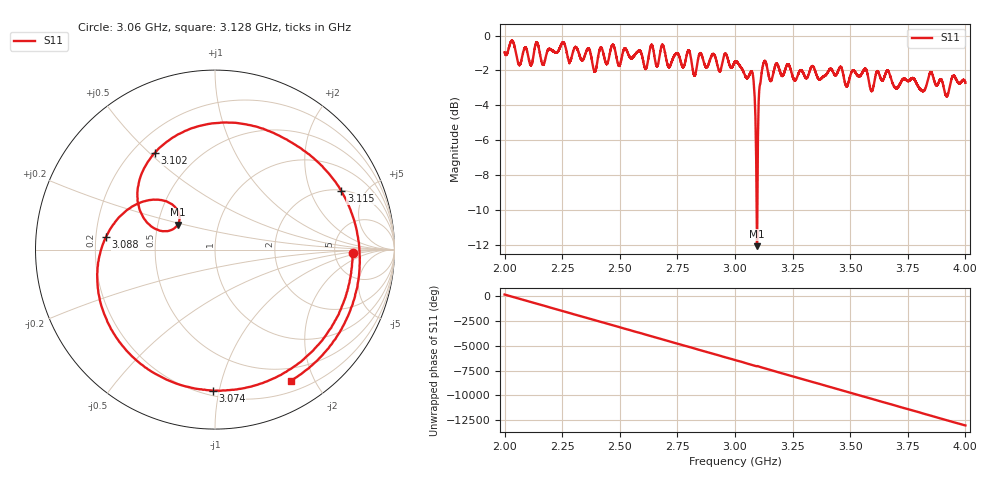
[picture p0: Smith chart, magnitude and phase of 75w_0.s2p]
!Agilent Technologies,E8362B,MY43021131,A.07.50.67
!Agilent E8362B: A.07.50.67
!Date: Thursday, March 14, 2024 15:10:14
!Correction: S11(Off)
!S21(Off)
!S12(Off)
!S22(Off)
!S2P File: Measurements: S11, S21, S12, S22:
# Hz S  RI  R 50
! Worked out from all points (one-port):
!   20001 points, 2 GHz to 4 GHz, reference 50 ohm
!   lowest |S11| = -12.1 dB at 3.095 GHz (marker M1), VSWR 1.66, Z = 31.7 + j9.38 ohm
!   |S11| at or under -10 dB: 3.093888 GHz to 3.097086 GHz (3.197 MHz wide, 0.103 % of centre)
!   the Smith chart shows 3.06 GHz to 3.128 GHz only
!   S11 on the Smith chart (normalised r, x): 3.06 GHz: 7.50, -0.69; 3.074 GHz: 0.23, -0.96; 3.088 GHz: 0.24, +0.06; 3.102 GHz: 0.29, +0.52; 3.115 GHz: 2.04, +3.36; 3.128 GHz: 0.33, -1.68
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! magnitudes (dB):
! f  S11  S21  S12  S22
! 2 GHz  -1.0  -  -  -
! 2.333 GHz  -1.4  -  -  -
! 2.667 GHz  -1.6  -  -  -
! 3 GHz  -1.5  -  -  -
! 3.06 GHz  -2.3  -  -  -
! 3.074 GHz  -2.1  -  -  -
! 3.082 GHz  -2.7  -  -  -
! 3.088 GHz  -4.3  -  -  -
! 3.095 GHz  -12.1  -  -  -
! 3.102 GHz  -3.9  -  -  -
! 3.115 GHz  -2.2  -  -  -
! 3.128 GHz  -1.5  -  -  -
! 3.155 GHz  -2.6  -  -  -
! 3.333 GHz  -1.8  -  -  -
! 3.485 GHz  -2.9  -  -  -
! 3.564 GHz  -1.9  -  -  -
! 3.593 GHz  -3.2  -  -  -
! 3.667 GHz  -2.1  -  -  -
! 3.814 GHz  -3.2  -  -  -
! 3.851 GHz  -2.1  -  -  -
! 3.918 GHz  -3.5  -  -  -
! 4 GHz  -2.7  -  -  -
